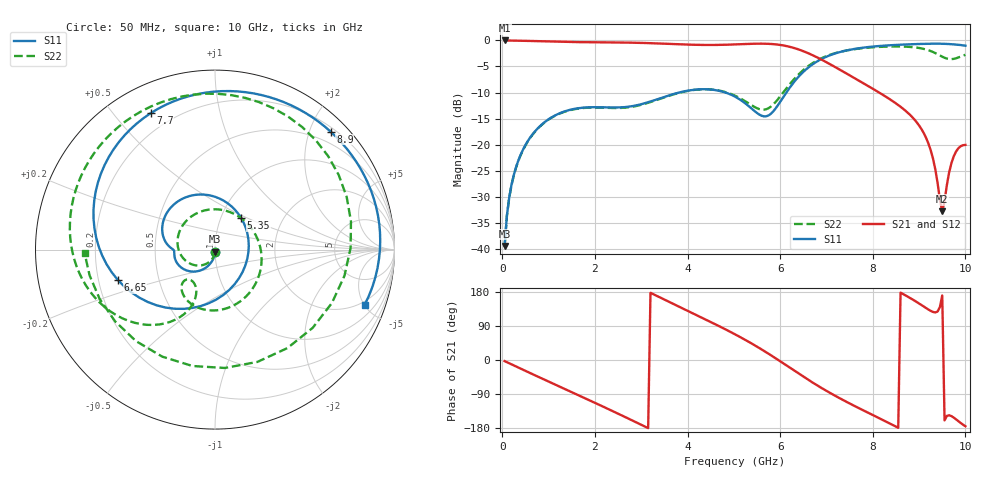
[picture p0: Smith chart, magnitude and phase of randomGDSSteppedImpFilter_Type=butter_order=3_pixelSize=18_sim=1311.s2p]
! freq	dB(S11)	phase(S11)	dB(S12)	phase(S12)
!  dB(S21)	phase(S21)	dB(S22)	phase(S22)
!S-par simulation data
#  GHz  S  DB  R 50
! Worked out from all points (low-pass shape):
!   200 points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, 50 MHz to 10 GHz, reference 50 ohm
!   highest |S21| = -0.02 dB at 50 MHz (marker M1); lowest = -32.8 dB at 9.5 GHz (marker M2)
!   |S21| within 3 dB of the highest: start of sweep to 6.742 GHz
!   lowest |S11| = -39.4 dB at 50 MHz (marker M3), VSWR 1.02, Z = 50.1 - j1.07 ohm
!   |S11| at or under -10 dB: start of sweep to 3.819 GHz; 4.818 GHz to 6.134 GHz (1.315 GHz wide, 24 % of centre)
!   |S22| runs from -39.5 to -1.2 dB; largest |S21 - S12| = 0
!   S11 on the Smith chart (normalised r, x): 50 MHz: 1.00, -0.02; 5.35 GHz: 1.25, +0.46; 6.65 GHz: 0.28, -0.14; 7.7 GHz: 0.12, +0.63; 8.9 GHz: 0.27, +2.35; 10 GHz: 1.72, -5.03
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0.05  -39.41 -84.1  -0.02 -2.9  -0.02 -2.9  -39.46 -85.2
0.2  -27.65 -97.4  -0.04 -11.6  -0.04 -11.6  -27.71 -101.6
0.5  -20.07 -113.2  -0.09 -28.7  -0.09 -28.7  -20.14 -123.8
1.15  -14.34 -141.9  -0.25 -65.3  -0.25 -65.3  -14.40 -169.7
1.75  -12.90 -163.1  -0.35 -98.9  -0.35 -98.9  -12.97 144.2
2.65  -12.79 -179.0  -0.42 -150.3  -0.42 -150.3  -12.90 57.3
3.4  -11.13 171.4  -0.61 165.5  -0.61 165.5  -11.22 -21.5
4.25  -9.39 139.1  -0.87 115.3  -0.87 115.3  -9.41 -88.2
5.05  -10.91 84.6  -0.77 66.2  -0.77 66.2  -10.71 -129.6
5.35  -12.82 50.3  -0.67 46.0  -0.67 46.0  -12.26 -134.6
6  -11.79 -79.8  -0.87 -3.3  -0.87 -3.3  -10.75 -112.1
6.65  -4.92 -162.8  -2.64 -55.6  -2.64 -55.6  -4.66 -134.7
6.7  -4.60 -167.6  -2.84 -59.4  -2.84 -59.4  -4.37 -137.6
7.15  -2.62 153.9  -4.93 -91.9  -4.93 -91.9  -2.55 -164.3
7.7  -1.51 115.3  -7.72 -127.0  -7.72 -127.0  -1.57 163.1
8.35  -0.95 76.2  -11.18 -166.3  -11.18 -166.3  -1.19 121.5
8.9  -0.72 45.6  -15.18 156.8  -15.18 156.8  -1.34 73.3
9.25  -0.64 26.3  -21.04 129.7  -21.04 129.7  -2.04 21.8
9.5  -0.65 11.9  -32.76 170.3  -32.76 170.3  -3.13 -38.7
9.7  -0.74 -0.2  -23.48 -148.2  -23.48 -148.2  -3.60 -101.0
9.85  -0.85 -9.8  -20.67 -161.7  -20.67 -161.7  -3.28 -144.3
10  -1.03 -20.3  -20.05 -174.8  -20.05 -174.8  -2.77 -178.6
